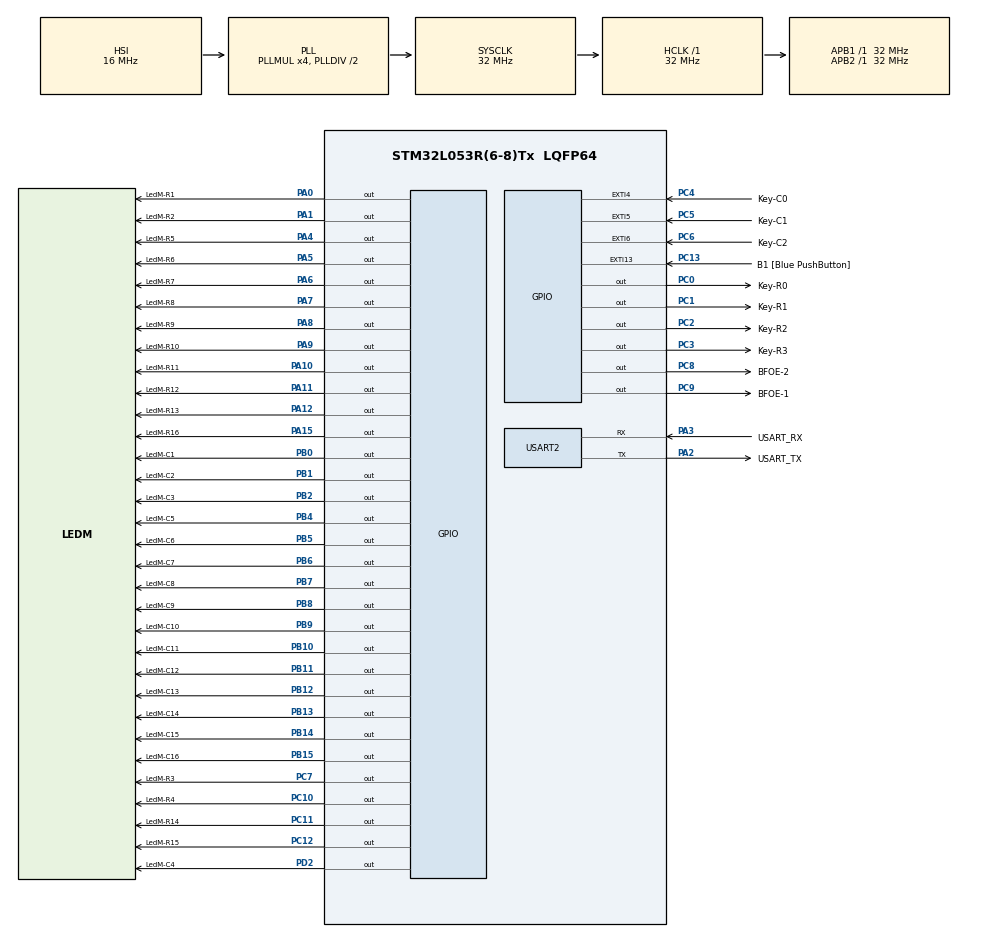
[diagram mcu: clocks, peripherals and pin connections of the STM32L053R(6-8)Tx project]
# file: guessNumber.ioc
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Mcu.Family=STM32L0
Mcu.Name=STM32L053R(6-8)Tx
Mcu.Package=LQFP64
NVIC.EXTI4_15_IRQn=true\:0\:0\:false\:false\:true\:true\:true\:true
NVIC.TIM21_IRQn=true\:0\:0\:false\:false\:true\:true\:true\:true
NVIC.TIM22_IRQn=true\:0\:0\:false\:false\:true\:true\:true\:true
NVIC.TIM2_IRQn=true\:0\:0\:false\:false\:true\:true\:true\:true
PA0.GPIO_Label=LedM-R1
PA0.GPIO_ModeDefaultOutputPP=GPIO_MODE_OUTPUT_PP
PA0.GPIO_PuPd=GPIO_NOPULL
PA0.GPIO_Speed=GPIO_SPEED_FREQ_VERY_HIGH
PA0.Signal=GPIO_Output
PA1.GPIO_Label=LedM-R2
PA1.GPIO_Speed=GPIO_SPEED_FREQ_VERY_HIGH
PA1.Signal=GPIO_Output
PA10.GPIO_Label=LedM-R11
PA10.GPIO_Speed=GPIO_SPEED_FREQ_VERY_HIGH
PA10.Signal=GPIO_Output
PA11.GPIO_Label=LedM-R12
PA11.GPIO_Speed=GPIO_SPEED_FREQ_VERY_HIGH
PA11.Signal=GPIO_Output
PA12.GPIO_Label=LedM-R13
PA12.GPIO_Speed=GPIO_SPEED_FREQ_VERY_HIGH
PA12.Signal=GPIO_Output
PA13.GPIO_Label=TMS
PA13.Mode=Serial_Wire
PA13.Signal=SYS_SWDIO
PA14.GPIO_Label=TCK
PA14.Mode=Serial_Wire
PA14.Signal=SYS_SWCLK
PA15.GPIO_Label=LedM-R16
PA15.GPIO_Speed=GPIO_SPEED_FREQ_VERY_HIGH
PA15.Signal=GPIO_Output
PA2.GPIO_Label=USART_TX
PA2.Mode=Asynchronous
PA2.Signal=USART2_TX
PA3.GPIO_Label=USART_RX
PA3.Mode=Asynchronous
PA3.Signal=USART2_RX
PA4.GPIO_Label=LedM-R5
PA4.GPIO_Speed=GPIO_SPEED_FREQ_VERY_HIGH
PA4.Signal=GPIO_Output
PA5.GPIO_Label=LedM-R6
PA5.GPIO_Speed=GPIO_SPEED_FREQ_VERY_HIGH
PA5.Signal=GPIO_Output
PA6.GPIO_Label=LedM-R7
PA6.GPIO_Speed=GPIO_SPEED_FREQ_VERY_HIGH
PA6.Signal=GPIO_Output
PA7.GPIO_Label=LedM-R8
PA7.GPIO_Speed=GPIO_SPEED_FREQ_VERY_HIGH
PA7.Signal=GPIO_Output
PA8.GPIO_Label=LedM-R9
PA8.GPIO_Speed=GPIO_SPEED_FREQ_VERY_HIGH
PA8.Signal=GPIO_Output
PA9.GPIO_Label=LedM-R10
PA9.GPIO_Speed=GPIO_SPEED_FREQ_VERY_HIGH
PA9.Signal=GPIO_Output
PB0.GPIO_Label=LedM-C1
PB0.GPIO_Speed=GPIO_SPEED_FREQ_VERY_HIGH
PB0.Signal=GPIO_Output
PB1.GPIO_Label=LedM-C2
PB1.GPIO_Speed=GPIO_SPEED_FREQ_VERY_HIGH
PB1.Signal=GPIO_Output
PB10.GPIO_Label=LedM-C11
PB10.GPIO_Speed=GPIO_SPEED_FREQ_VERY_HIGH
PB10.Signal=GPIO_Output
PB11.GPIO_Label=LedM-C12
PB11.GPIO_Speed=GPIO_SPEED_FREQ_VERY_HIGH
PB11.Signal=GPIO_Output
PB12.GPIO_Label=LedM-C13
PB12.GPIO_Speed=GPIO_SPEED_FREQ_VERY_HIGH
PB12.Signal=GPIO_Output
PB13.GPIO_Label=LedM-C14
PB13.GPIO_Speed=GPIO_SPEED_FREQ_VERY_HIGH
PB13.Signal=GPIO_Output
PB14.GPIO_Label=LedM-C15
PB14.GPIO_Speed=GPIO_SPEED_FREQ_VERY_HIGH
PB14.Signal=GPIO_Output
PB15.GPIO_Label=LedM-C16
PB15.GPIO_Speed=GPIO_SPEED_FREQ_VERY_HIGH
PB15.Signal=GPIO_Output
PB2.GPIO_Label=LedM-C3
PB2.GPIO_Speed=GPIO_SPEED_FREQ_VERY_HIGH
PB2.Signal=GPIO_Output
PB4.GPIO_Label=LedM-C5
PB4.GPIO_Speed=GPIO_SPEED_FREQ_VERY_HIGH
PB4.Signal=GPIO_Output
PB5.GPIO_Label=LedM-C6
PB5.GPIO_Speed=GPIO_SPEED_FREQ_VERY_HIGH
PB5.Signal=GPIO_Output
PB6.GPIO_Label=LedM-C7
PB6.GPIO_Speed=GPIO_SPEED_FREQ_VERY_HIGH
PB6.Signal=GPIO_Output
PB7.GPIO_Label=LedM-C8
PB7.GPIO_Speed=GPIO_SPEED_FREQ_VERY_HIGH
PB7.Signal=GPIO_Output
PB8.GPIO_Label=LedM-C9
PB8.GPIO_Speed=GPIO_SPEED_FREQ_VERY_HIGH
PB8.Signal=GPIO_Output
PB9.GPIO_Label=LedM-C10
PB9.GPIO_Speed=GPIO_SPEED_FREQ_VERY_HIGH
PB9.Signal=GPIO_Output
PC0.GPIO_Label=Key-R0
PC0.GPIO_Speed=GPIO_SPEED_FREQ_VERY_HIGH
PC0.Signal=GPIO_Output
PC1.GPIO_Label=Key-R1
PC1.GPIO_Speed=GPIO_SPEED_FREQ_VERY_HIGH
PC1.Signal=GPIO_Output
PC10.GPIO_Label=LedM-R4
PC10.GPIO_Speed=GPIO_SPEED_FREQ_VERY_HIGH
PC10.Signal=GPIO_Output
PC11.GPIO_Label=LedM-R14
PC11.GPIO_Speed=GPIO_SPEED_FREQ_VERY_HIGH
PC11.Signal=GPIO_Output
PC12.GPIO_Label=LedM-R15
PC12.GPIO_Speed=GPIO_SPEED_FREQ_VERY_HIGH
PC12.Signal=GPIO_Output
PC13.GPIO_Label=B1 [Blue PushButton]
PC13.GPIO_ModeDefaultEXTI=GPIO_MODE_IT_FALLING
PC13.GPIO_PuPd=GPIO_NOPULL
PC13.Signal=GPXTI13
PC14-OSC32_IN.Mode=LSE-External-Oscillator
PC14-OSC32_IN.Signal=RCC_OSC32_IN
PC15-OSC32_OUT.Mode=LSE-External-Oscillator
PC15-OSC32_OUT.Signal=RCC_OSC32_OUT
PC2.GPIO_Label=Key-R2
PC2.GPIO_Speed=GPIO_SPEED_FREQ_VERY_HIGH
PC2.Signal=GPIO_Output
PC3.GPIO_Label=Key-R3
PC3.GPIO_Speed=GPIO_SPEED_FREQ_VERY_HIGH
PC3.Signal=GPIO_Output
PC4.GPIO_Label=Key-C0
PC4.GPIO_ModeDefaultEXTI=GPIO_MODE_IT_RISING
PC4.GPIO_PuPd=GPIO_NOPULL
PC4.Signal=GPXTI4
PC5.GPIO_Label=Key-C1
PC5.Signal=GPXTI5
PC6.GPIO_Label=Key-C2
PC6.Signal=GPXTI6
PC7.GPIO_Label=LedM-R3
PC7.GPIO_Speed=GPIO_SPEED_FREQ_VERY_HIGH
PC7.Signal=GPIO_Output
PC8.GPIO_Label=BFOE-2
PC8.GPIO_Speed=GPIO_SPEED_FREQ_VERY_HIGH
PC8.Signal=GPIO_Output
PC9.GPIO_Label=BFOE-1
PC9.GPIO_Speed=GPIO_SPEED_FREQ_VERY_HIGH
PC9.Signal=GPIO_Output
PD2.GPIO_Label=LedM-C4
PD2.GPIO_Speed=GPIO_SPEED_FREQ_VERY_HIGH
PD2.Signal=GPIO_Output
PH0-OSC_IN.Mode=HSE-External-Clock-Source
PH0-OSC_IN.Signal=RCC_OSC_IN
PH1-OSC_OUT.Signal=RCC_OSC_OUT
ProjectManager.HeapSize=0x200
ProjectManager.StackSize=0x400
ProjectManager.TargetToolchain=CMake
RCC.AHBFreq_Value=32000000
RCC.APB1Freq_Value=32000000
RCC.APB1TimFreq_Value=32000000
RCC.APB2Freq_Value=32000000
RCC.APB2TimFreq_Value=32000000
RCC.HCLKFreq_Value=32000000
RCC.HSE_VALUE=8000000
RCC.HSI16_VALUE=16000000
RCC.HSI48_VALUE=48000000
RCC.HSI_VALUE=16000000
RCC.MSI_VALUE=2097000
RCC.PLLMUL=RCC_PLLMUL_4
RCC.SYSCLKFreq_VALUE=32000000
RCC.SYSCLKSource=RCC_SYSCLKSOURCE_PLLCLK
RCC.VCOOutputFreq_Value=64000000
TIM2.AutoReloadPreload=TIM_AUTORELOAD_PRELOAD_ENABLE
TIM2.Period=100-1
TIM2.Prescaler=3200-1
TIM21.AutoReloadPreload=TIM_AUTORELOAD_PRELOAD_ENABLE
TIM21.Period=100-1
TIM21.Prescaler=3200-1
TIM22.AutoReloadPreload=TIM_AUTORELOAD_PRELOAD_ENABLE
TIM22.Period=2
TIM22.Prescaler=3200-1
USART2.VirtualMode-Asynchronous=VM_ASYNC
VP_RNG_VS_RNG.Mode=RNG_Activate
VP_TIM21_VS_ClockSourceINT.Mode=Internal
VP_TIM22_VS_ClockSourceINT.Mode=Internal
VP_TIM2_VS_ClockSourceINT.Mode=Internal
board=NUCLEO-L053R8

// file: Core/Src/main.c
/* USER CODE BEGIN Header */
/**
  ******************************************************************************
  * @file           : main.c
  * @brief          : Main program body
  ******************************************************************************
  * @attention
  *
  * Copyright (c) 2025 STMicroelectronics.
  * All rights reserved.
  *
  * This software is licensed under terms that can be found in the LICENSE file
  * in the root directory of this software component.
  * If no LICENSE file comes with this software, it is provided AS-IS.
  *
  ******************************************************************************
  */
/* USER CODE END Header */
#include "main.h"
#include "rng.h"
#include "tim.h"
#include "usart.h"
#include "gpio.h"

/* USER CODE BEGIN Includes */
#include "led_matrix_driver.h"
#include "game.h"
#include "keyboard_driver.h"

/* USER CODE END Includes */

void SystemClock_Config(void);

int main(void)
{

  /* MCU Configuration--------------------------------------------------------*/

  /* Reset of all peripherals, Initializes the Flash interface and the Systick. */
  HAL_Init();

  /* Configure the system clock */
  SystemClock_Config();

  /* Initialize all configured peripherals */
  MX_GPIO_Init();
  MX_USART2_UART_Init();
  MX_TIM2_Init();
  MX_TIM21_Init();
  MX_TIM22_Init();
  MX_RNG_Init();
  /* USER CODE BEGIN 2 */
  HAL_TIM_Base_Start_IT(&htim22);
  HAL_TIM_Base_Start_IT(&htim21);
  HAL_TIM_Base_Start_IT(&htim2);

  led_matrix_init();
  printf("system initialized\n");

  game();
  /* USER CODE END 2 */

  /* Infinite loop */
  while (1)
  {

  }
}

void SystemClock_Config(void)
{
  RCC_OscInitTypeDef RCC_OscInitStruct = {0};
  RCC_ClkInitTypeDef RCC_ClkInitStruct = {0};
  RCC_PeriphCLKInitTypeDef PeriphClkInit = {0};

  /** Configure the main internal regulator output voltage
  */
  __HAL_PWR_VOLTAGESCALING_CONFIG(PWR_REGULATOR_VOLTAGE_SCALE1);

  /** Initializes the RCC Oscillators according to the specified parameters
  * in the RCC_OscInitTypeDef structure.
  */
  RCC_OscInitStruct.OscillatorType = RCC_OSCILLATORTYPE_HSI;
  RCC_OscInitStruct.HSIState = RCC_HSI_ON;
  RCC_OscInitStruct.HSICalibrationValue = RCC_HSICALIBRATION_DEFAULT;
  RCC_OscInitStruct.PLL.PLLState = RCC_PLL_ON;
  RCC_OscInitStruct.PLL.PLLSource = RCC_PLLSOURCE_HSI;
  RCC_OscInitStruct.PLL.PLLMUL = RCC_PLLMUL_4;
  RCC_OscInitStruct.PLL.PLLDIV = RCC_PLLDIV_2;
  if (HAL_RCC_OscConfig(&RCC_OscInitStruct) != HAL_OK)
  {
    Error_Handler();
  }

  /** Initializes the CPU, AHB and APB buses clocks
  */
  RCC_ClkInitStruct.ClockType = RCC_CLOCKTYPE_HCLK|RCC_CLOCKTYPE_SYSCLK
                              |RCC_CLOCKTYPE_PCLK1|RCC_CLOCKTYPE_PCLK2;
  RCC_ClkInitStruct.SYSCLKSource = RCC_SYSCLKSOURCE_PLLCLK;
  RCC_ClkInitStruct.AHBCLKDivider = RCC_SYSCLK_DIV1;
  RCC_ClkInitStruct.APB1CLKDivider = RCC_HCLK_DIV1;
  RCC_ClkInitStruct.APB2CLKDivider = RCC_HCLK_DIV1;

  if (HAL_RCC_ClockConfig(&RCC_ClkInitStruct, FLASH_LATENCY_1) != HAL_OK)
  {
    Error_Handler();
  }
  PeriphClkInit.PeriphClockSelection = RCC_PERIPHCLK_USART2|RCC_PERIPHCLK_USB;
  PeriphClkInit.Usart2ClockSelection = RCC_USART2CLKSOURCE_PCLK1;
  PeriphClkInit.UsbClockSelection = RCC_USBCLKSOURCE_PLL;
  if (HAL_RCCEx_PeriphCLKConfig(&PeriphClkInit) != HAL_OK)
  {
    Error_Handler();
  }
}

/* USER CODE BEGIN 4 */
// 定时器中断回调函数
void HAL_TIM_PeriodElapsedCallback(TIM_HandleTypeDef *htim)
{
  // LED 矩阵扫描定时器
  if (htim == (&htim22))
  {
    led_matrix_scan_vertical(screen_buffer);
  }
  // 按键扫描定时器
  else if (htim == (&htim21))
  {
    keyboard_scan();
  }
  // 游戏时钟定时器
  else if (htim == (&htim2))
  {
    play_whack_a_mole_tick();
  }
}
// 外部中断回调函数
void HAL_GPIO_EXTI_Callback(uint16_t GPIO_Pin)
{
  keyboard_EXTI_callback(GPIO_Pin);
}
/* USER CODE END 4 */

void Error_Handler(void)
{
  __disable_irq();
  while (1)
  {
  }
}
